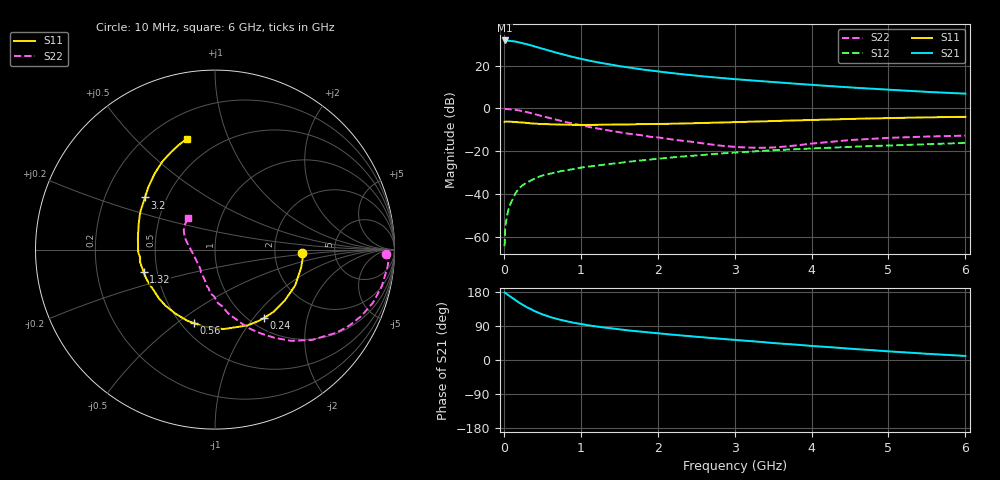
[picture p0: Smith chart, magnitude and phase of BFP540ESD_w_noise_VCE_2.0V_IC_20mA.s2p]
! Infineon Technologies  Discrete & RF Semiconductors
! BFP540ESD
! VCE =  2.0 V,  IC =  20 mA
! Common Emitter S-Parameters:  Nov 2015
# GHz  S  MA  R  50
!  f  S11  S21  S12  S22
! GHz  MAG  ANG  MAG  ANG  MAG  ANG  MAG  ANG
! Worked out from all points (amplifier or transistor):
!   210 points, 10 MHz to 6 GHz, reference 50 ohm
!   highest |S21| = 31.8 dB at 10 MHz (marker M1)
!   |S21| within 3 dB of that: start of sweep to 419.8 MHz
!   unconditionally stable (mu >= 1): start of sweep to 10.91 MHz; 2.126 GHz to end of sweep
!   at 185 MHz: K = 0.20, MSG = 34.5 dB, |S12| = -38.0 dB
!   at 1.52 GHz: K = 0.90, MSG = 22.6 dB, |S12| = -25.4 dB
!   at 6 GHz: K = 1.12, MAG = 9.4 dB, |S12| = -16.1 dB
!   lowest NFmin = 1.17 dB at 900 MHz
!   S11 on the Smith chart (normalised r, x): 10 MHz: 2.90, -0.13; 240 MHz: 1.15, -1.13; 560 MHz: 0.58, -0.58; 1.32 GHz: 0.42, -0.13; 3.2 GHz: 0.38, +0.29; 6 GHz: 0.35, +0.72
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0.01  0.4877 -2.0  38.89 178.1  0.0006 127.1  0.9518 -1.4
0.035  0.49 -8.5  38.53 174.7  0.0027 92.5  0.9682 -4.0
0.1  0.4893 -24.1  37.73 165.0  0.0067 78.6  0.9514 -12.4
0.15  0.4813 -35.7  36.7 157.9  0.0102 78.1  0.9289 -18.5
0.2  0.4762 -46.6  35.21 151.2  0.0137 75.7  0.8962 -24.3
0.24  0.4686 -54.7  33.83 146.2  0.0158 72.8  0.866 -28.6
0.3  0.4596 -66.8  31.8 139.1  0.0184 68.5  0.8188 -34.5
0.4  0.4453 -83.8  28.2 129.0  0.0229 66.2  0.7375 -43.1
0.5  0.4331 -99.0  25.04 120.4  0.0269 61.9  0.6594 -50.4
0.56  0.426 -106.3  23.23 116.5  0.0286 60.2  0.6178 -53.7
0.6  0.4253 -111.3  22.09 113.5  0.0297 59.2  0.5913 -56.1
0.7  0.4196 -121.4  19.76 107.8  0.0328 58.7  0.534 -61.2
0.8  0.4169 -131.2  17.65 102.8  0.0357 58.0  0.4824 -66.1
1.02  0.4101 -146.7  14.21 94.2  0.0417 56.2  0.3963 -74.2
1.32  0.4163 -162.5  11.12 85.3  0.049 54.7  0.3148 -83.4
1.6  0.4198 -174.1  9.181 78.5  0.056 53.3  0.2593 -91.3
2.02  0.4339 172.3  7.256 69.9  0.0669 52.0  0.2079 -102.7
3.1  0.4806 145.5  4.693 51.6  0.0951 44.2  0.1232 -142.0
3.2  0.4865 143.3  4.545 50.0  0.0976 43.2  0.1211 -147.7
4.1  0.5451 127.1  3.462 35.8  0.1178 35.2  0.1561 167.8
5.1  0.5994 113.3  2.682 21.6  0.138 26.3  0.2076 146.2
6  0.6367 104.1  2.215 10.6  0.1563 19.8  0.2315 129.8
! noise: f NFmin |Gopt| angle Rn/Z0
0.9  1.17  0.28  -137  0.11
1.8  1.32  0.31  -144  0.11
2.4  1.35  0.32  -135  0.12
3  1.45  0.35  -130  0.13
4  1.53  0.47  -104  0.22
5  1.66  0.56  -87  0.31
6  1.97  0.55  -87  0.57
